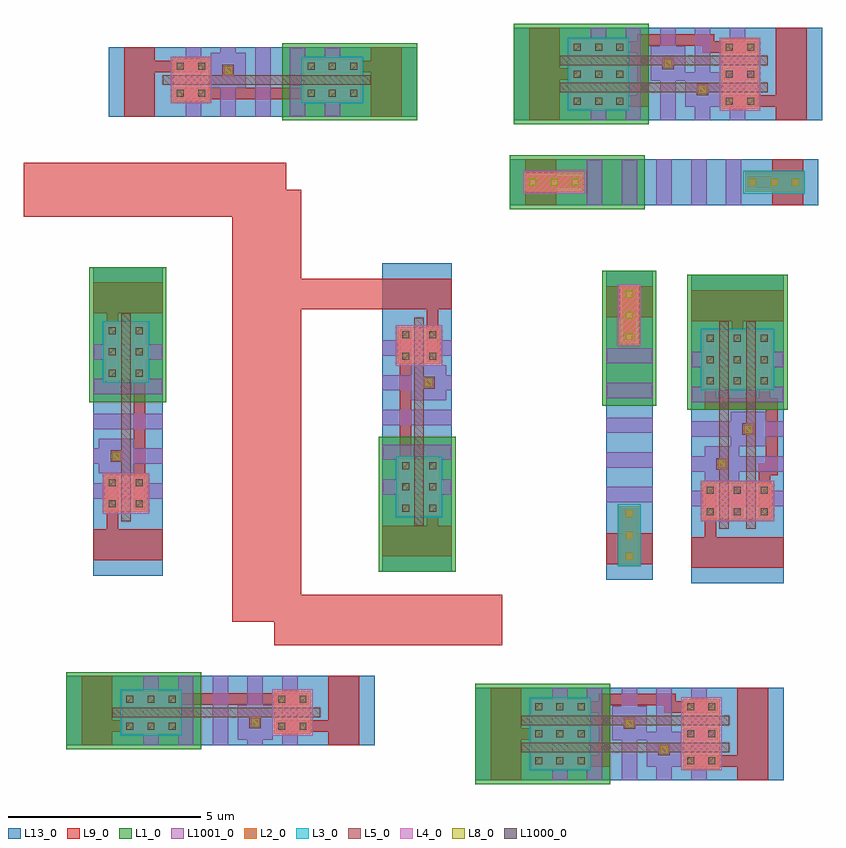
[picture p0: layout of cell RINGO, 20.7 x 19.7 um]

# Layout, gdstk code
from math import pi, radians
import gdstk
lib = gdstk.Library(unit=1e-6, precision=1e-09)
def R(c, l, rs):  # rectangles x0, y0, x1, y1
    for r in rs: c.add(gdstk.rectangle(r[:2], r[2:], *l))
def A(c, l, x, y, w, h, nx, ny, dx, dy):  # array of equal rectangles
    R(c, l, [(x+i*dx, y+j*dy, x+i*dx+w, y+j*dy+h) for i in range(nx) for j in range(ny)])
L1_0 = (1, 0)
L2_0 = (2, 0)
L3_0 = (3, 0)
L4_0 = (4, 0)
L5_0 = (5, 0)
L8_0 = (8, 0)
L9_0 = (9, 0)
L13_0 = (13, 0)
L1000_0 = (1000, 0)
L1001_0 = (1001, 0)

polym1 = lib.new_cell('POLYM1')
R(polym1, L5_0, [(-0.15,-0.15,0.15,0.15)])
R(polym1, L8_0, [(-0.09,-0.09,0.09,0.09)])
R(polym1, L9_0, [(-0.15,-0.15,0.15,0.15)])
R(polym1, L1001_0, [(-0.45,-0.45,0.45,0.45)])

nmos2 = lib.new_cell('NMOS2')
R(nmos2, L2_0, [(0,0,1.1,0.95)])
R(nmos2, L4_0, [(-0.05,-0.05,1.15,1)])
R(nmos2, L5_0, [(0.425,-0.25,0.675,1.2)])
R(nmos2, L1000_0, [(0.11,0.11,0.29,0.29), (0.81,0.11,0.99,0.29), (0.11,0.66,0.29,0.84), (0.81,0.66,0.99,0.84)])
R(nmos2, L1001_0, [(0.05,0.05,0.35,0.9), (0.75,0.05,1.05,0.9)])

pmos3 = lib.new_cell('PMOS3')
R(pmos3, L2_0, [(0,0,1.1,1.5), (0,0,1.1,1.5)])
R(pmos3, L3_0, [(-0.05,-0.05,1.15,1.55)])
R(pmos3, L5_0, [(0.425,-0.25,0.675,1.75), (0.425,-0.25,0.675,1.75)])
A(pmos3, L1000_0, 0.11, 0.11, 0.18, 0.18, 1, 3, 0, 0.55)
A(pmos3, L1000_0, 0.81, 0.11, 0.18, 0.18, 1, 3, 0, 0.55)
R(pmos3, L1001_0, [(0.05,0.05,0.35,1.45), (0.75,0.05,1.05,1.45)])

invx1 = lib.new_cell('INVX1')
R(invx1, L1_0, [(-0.1,4.5,1.9,8)])
R(invx1, L5_0, [(0.725,2.86,0.975,4.8)])
A(invx1, L8_0, 0.41, 5.16, 0.18, 0.18, 1, 3, 0, 0.55)
A(invx1, L8_0, 1.11, 5.16, 0.18, 0.18, 1, 3, 0, 0.55)
R(invx1, L8_0, [(0.41,1.77,0.59,1.95), (1.11,1.77,1.29,1.95), (0.41,2.32,0.59,2.5), (1.11,2.32,1.29,2.5)])
R(invx1, L9_0, [(0,0.4,1.8,1.2), (0.35,1.2,0.65,2.56), (1.05,1.71,1.35,6.5), (0.35,5.1,0.65,6.5), (0.35,6.5,0.65,6.8), (0,6.8,1.8,7.6)])
R(invx1, L13_0, [(0,0,1.8,8)])
invx1.add(gdstk.FlexPath([(0,5.8),(1.8,5.8)], 0.4, ends="flush", simple_path=True, layer=1001, datatype=0))  # L1001_0
invx1.add(gdstk.FlexPath([(0,4.9),(1.8,4.9)], 0.4, ends="flush", simple_path=True, layer=1001, datatype=0))  # L1001_0
invx1.add(gdstk.FlexPath([(0,4),(1.8,4)], 0.4, ends="flush", simple_path=True, layer=1001, datatype=0))  # L1001_0
invx1.add(gdstk.FlexPath([(0,3.1),(1.8,3.1)], 0.4, ends="flush", simple_path=True, layer=1001, datatype=0))  # L1001_0
invx1.add(gdstk.FlexPath([(0,2.2),(1.8,2.2)], 0.4, ends="flush", simple_path=True, layer=1001, datatype=0))  # L1001_0
invx1.add(gdstk.Reference(polym1, (0.6,3.1)))
invx1.add(gdstk.Reference(nmos2, (0.3,1.66)))
invx1.add(gdstk.Reference(pmos3, (0.3,5.05)))
invx1.add(gdstk.Label('OUT', (1.2,4), layer=9, texttype=0))
invx1.add(gdstk.Label('IN', (0.6,3.1), layer=9, texttype=0))
invx1.add(gdstk.Label('VSS', (0.95,0.8), layer=9, texttype=0))
invx1.add(gdstk.Label('VDD', (0.95,7.2), layer=9, texttype=0))

nd2x1 = lib.new_cell('ND2X1')
R(nd2x1, L1_0, [(-0.1,4.5,2.5,8)])
R(nd2x1, L5_0, [(0.725,2.86,0.975,4.8), (1.425,2.86,1.675,4.8)])
A(nd2x1, L8_0, 0.41, 5.16, 0.18, 0.18, 3, 3, 0.7, 0.55)
R(nd2x1, L8_0, [(0.41,1.77,0.59,1.95), (1.81,1.77,1.99,1.95), (0.41,2.32,0.59,2.5), (1.81,2.32,1.99,2.5)])
R(nd2x1, L9_0, [(0,0.4,2.4,1.2), (0.35,1.2,0.65,2.56), (1.75,4.8,2.05,5.1), (0.35,5.1,0.65,6.5), (1.05,5.1,1.35,6.8), (1.75,5.1,2.05,6.5), (0,6.8,2.4,7.6)])
R(nd2x1, L13_0, [(0,0,2.4,8)])
nd2x1.add(gdstk.FlexPath([(0,5.8),(2.4,5.8),(2.4,5.8)], 0.4, ends="flush", simple_path=True, layer=1001, datatype=0))  # L1001_0
nd2x1.add(gdstk.FlexPath([(0,4.9),(2.4,4.9)], 0.4, ends="flush", simple_path=True, layer=1001, datatype=0))  # L1001_0
nd2x1.add(gdstk.FlexPath([(0,4),(2.4,4)], 0.4, ends="flush", simple_path=True, layer=1001, datatype=0))  # L1001_0
nd2x1.add(gdstk.FlexPath([(0,3.1),(2.4,3.1)], 0.4, ends="flush", simple_path=True, layer=1001, datatype=0))  # L1001_0
nd2x1.add(gdstk.FlexPath([(0,2.2),(2.4,2.2)], 0.4, ends="flush", simple_path=True, layer=1001, datatype=0))  # L1001_0
nd2x1.add(gdstk.FlexPath([(1.9,1.71),(1.9,2.95),(2.09,2.95),(2.09,4.65),(0.5,4.65),(0.5,5.1)], 0.3, ends="flush", simple_path=True, layer=9, datatype=0))  # L9_0
nd2x1.add(gdstk.Reference(polym1, (0.8,3.1)))
nd2x1.add(gdstk.Reference(polym1, (1.48,4)))
nd2x1.add(gdstk.Reference(nmos2, (0.3,1.66)))
nd2x1.add(gdstk.Reference(pmos3, (0.3,5.05)))
nd2x1.add(gdstk.Reference(pmos3, (1,5.05)))
nd2x1.add(gdstk.Reference(nmos2, (1,1.66)))
nd2x1.add(gdstk.Label('B', (1.5,4), layer=9, texttype=0))
nd2x1.add(gdstk.Label('A', (0.8,3.1), layer=9, texttype=0))
nd2x1.add(gdstk.Label('OUT', (2.1,4), layer=9, texttype=0))
nd2x1.add(gdstk.Label('VSS', (1.25,0.8), layer=9, texttype=0))
nd2x1.add(gdstk.Label('VDD', (1.25,7.2), layer=9, texttype=0))

tie = lib.new_cell('TIE')
R(tie, L1_0, [(-0.1,4.5,1.3,8)])
R(tie, L2_0, [(0.35,0.4,0.85,1.9), (0.35,6.1,0.85,7.6)])
R(tie, L3_0, [(0.3,0.35,0.9,1.95)])
R(tie, L4_0, [(0.3,6.05,0.9,7.65)])
A(tie, L8_0, 0.51, 0.51, 0.18, 0.18, 1, 3, 0, 0.55)
A(tie, L8_0, 0.51, 6.21, 0.18, 0.18, 1, 3, 0, 0.55)
R(tie, L9_0, [(0,0.4,1.2,1.2), (0.45,0.45,0.75,1.85), (0.45,6.15,0.75,7.55), (0,6.8,1.2,7.6)])
R(tie, L13_0, [(0,0,1.2,8)])
tie.add(gdstk.FlexPath([(0,2.2),(1.2,2.2)], 0.4, ends="flush", simple_path=True, layer=1001, datatype=0))  # L1001_0
tie.add(gdstk.FlexPath([(0,3.1),(1.2,3.1)], 0.4, ends="flush", simple_path=True, layer=1001, datatype=0))  # L1001_0
tie.add(gdstk.FlexPath([(0,4),(1.2,4)], 0.4, ends="flush", simple_path=True, layer=1001, datatype=0))  # L1001_0
tie.add(gdstk.FlexPath([(0,4.9),(1.2,4.9)], 0.4, ends="flush", simple_path=True, layer=1001, datatype=0))  # L1001_0
tie.add(gdstk.FlexPath([(0,5.8),(1.2,5.8)], 0.4, ends="flush", simple_path=True, layer=1001, datatype=0))  # L1001_0
tie.add(gdstk.Label('VDD', (0.65,7.2), layer=9, texttype=0))
tie.add(gdstk.Label('VSS', (0.65,0.8), layer=9, texttype=0))

c_c = lib.new_cell('C')
c_c.add(gdstk.Reference(nd2x1, (2.3,0)))
c_c.add(gdstk.Reference(tie, (0.1,0.1)))

ringo = lib.new_cell('RINGO')
R(ringo, L9_0, [(7.5,4.1,13.4,5.4), (6.4,4.7,8.2,15.9), (7.7,12.8,10.6,13.6), (1,15.2,7.8,16.6)])
ringo.add(gdstk.Reference(invx1, (2.8,5.9)))
ringo.add(gdstk.Reference(invx1, (10.1,1.5), rotation=pi/2))
ringo.add(gdstk.Reference(invx1, (12.1,14), rotation=pi))
ringo.add(gdstk.Reference(invx1, (3.2,19.6), rotation=3*pi/2))
ringo.add(gdstk.Reference(c_c, (21.7,15.4), rotation=pi/2))
ringo.add(gdstk.Reference(nd2x1, (20.7,0.6), rotation=pi/2))
ringo.add(gdstk.Reference(c_c, (16,5.7)))

lib.write_gds('RINGO.gds')
